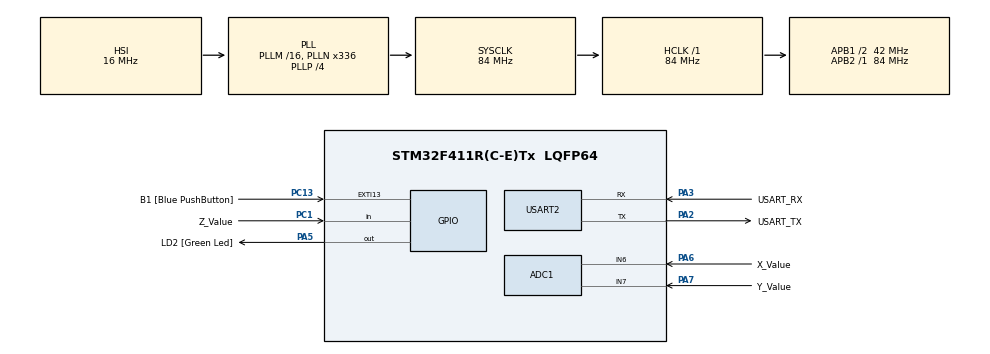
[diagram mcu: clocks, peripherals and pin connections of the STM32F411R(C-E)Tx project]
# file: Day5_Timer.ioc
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ADC1.Channel-0\#ChannelRegularConversion=ADC_CHANNEL_6
ADC1.Channel-1\#ChannelRegularConversion=ADC_CHANNEL_7
ADC1.NbrOfConversion=2
ADC1.NbrOfConversionFlag=1
ADC1.Rank-0\#ChannelRegularConversion=1
ADC1.Rank-1\#ChannelRegularConversion=2
ADC1.SamplingTime-0\#ChannelRegularConversion=ADC_SAMPLETIME_480CYCLES
ADC1.SamplingTime-1\#ChannelRegularConversion=ADC_SAMPLETIME_480CYCLES
ADC1.ScanConvMode=ENABLE
ADC1.master=1
Mcu.Family=STM32F4
Mcu.Name=STM32F411R(C-E)Tx
Mcu.Package=LQFP64
NVIC.PriorityGroup=NVIC_PRIORITYGROUP_0
NVIC.TIM3_IRQn=true\:0\:0\:false\:false\:true\:true\:true\:true
PA13.GPIO_Label=TMS
PA13.Mode=Serial_Wire
PA13.Signal=SYS_JTMS-SWDIO
PA14.GPIO_Label=TCK
PA14.Mode=Serial_Wire
PA14.Signal=SYS_JTCK-SWCLK
PA2.GPIO_Label=USART_TX
PA2.Mode=Asynchronous
PA2.Signal=USART2_TX
PA3.GPIO_Label=USART_RX
PA3.Mode=Asynchronous
PA3.Signal=USART2_RX
PA5.GPIO_Label=LD2 [Green Led]
PA5.Signal=GPIO_Output
PA6.GPIO_Label=X_Value
PA6.Signal=ADCx_IN6
PA7.GPIO_Label=Y_Value
PA7.Signal=ADCx_IN7
PB3.GPIO_Label=SWO
PB3.Signal=SYS_JTDO-SWO
PC1.GPIO_Label=Z_Value
PC1.Signal=GPIO_Input
PC13-ANTI_TAMP.GPIO_Label=B1 [Blue PushButton]
PC13-ANTI_TAMP.GPIO_ModeDefaultEXTI=GPIO_MODE_IT_FALLING
PC13-ANTI_TAMP.Signal=GPXTI13
PC14-OSC32_IN.Mode=LSE-External-Oscillator
PC14-OSC32_IN.Signal=RCC_OSC32_IN
PC15-OSC32_OUT.Mode=LSE-External-Oscillator
PC15-OSC32_OUT.Signal=RCC_OSC32_OUT
PH0\ -\ OSC_IN.Mode=HSE-External-Clock-Source
PH0\ -\ OSC_IN.Signal=RCC_OSC_IN
PH1\ -\ OSC_OUT.Mode=HSE-External-Clock-Source
PH1\ -\ OSC_OUT.Signal=RCC_OSC_OUT
ProjectManager.HeapSize=0x200
ProjectManager.StackSize=0x400
ProjectManager.TargetToolchain=STM32CubeIDE
RCC.48MHZClocksFreq_Value=84000000
RCC.AHBFreq_Value=84000000
RCC.APB1CLKDivider=RCC_HCLK_DIV2
RCC.APB1Freq_Value=42000000
RCC.APB1TimFreq_Value=84000000
RCC.APB2Freq_Value=84000000
RCC.APB2TimFreq_Value=84000000
RCC.CortexFreq_Value=84000000
RCC.FLatency-AdvancedSettings=FLASH_LATENCY_2
RCC.HCLKFreq_Value=84000000
RCC.HSE_VALUE=8000000
RCC.HSI_VALUE=16000000
RCC.PLLN=336
RCC.PLLP=RCC_PLLP_DIV4
RCC.SYSCLKFreq_VALUE=84000000
RCC.SYSCLKSource=RCC_SYSCLKSOURCE_PLLCLK
RCC.VCOOutputFreq_Value=336000000
SH.ADCx_IN6.0=ADC1_IN6,IN6
SH.ADCx_IN7.0=ADC1_IN7,IN7
TIM3.Period=9999
TIM3.Prescaler=8399
USART2.VirtualMode=VM_ASYNC
VP_TIM3_VS_ClockSourceINT.Mode=Internal
board=NUCLEO-F411RE

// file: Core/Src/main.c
/* USER CODE BEGIN Header */
/**
  ******************************************************************************
  * @file           : main.c
  * @brief          : Main program body
  ******************************************************************************
  * @attention
  *
  * Copyright (c) 2023 STMicroelectronics.
  * All rights reserved.
  *
  * This software is licensed under terms that can be found in the LICENSE file
  * in the root directory of this software component.
  * If no LICENSE file comes with this software, it is provided AS-IS.
  *
  ******************************************************************************
  */
/* USER CODE END Header */
#include "main.h"

ADC_HandleTypeDef hadc1;

TIM_HandleTypeDef htim3;

UART_HandleTypeDef huart2;

void SystemClock_Config(void);
static void MX_GPIO_Init(void);
static void MX_USART2_UART_Init(void);
static void MX_TIM3_Init(void);
static void MX_ADC1_Init(void);

/* USER CODE BEGIN 0 */
int __io_putchar(int ch) // 1 byte output function to CONSOLE(monitor)
{
//	char a = ch;
	HAL_UART_Transmit(&huart2, &ch, 1, 100);
}

void Joystick_Test()
{
	int xVal = 0;
	int yVal = 0;
	int zVal = 0;

	HAL_ADC_Start(&hadc1); // Start
	HAL_ADC_PollForConversion(&hadc1, 100);
	xVal = HAL_ADC_GetValue(&hadc1)*90/4095; // xVal Read(Read Rank1)
	HAL_ADC_PollForConversion(&hadc1, 100);
	yVal = HAL_ADC_GetValue(&hadc1)*90/4095; // yVal Read(Read Rank2)
	HAL_ADC_Stop(&hadc1); // Stop
	zVal = !(HAL_GPIO_ReadPin(Z_Value_GPIO_Port, Z_Value_Pin));
	printf("X : %d, Y = %d, Z = %d \r\n", xVal, yVal, zVal);
}

void HAL_TIM_PeriodElapsedCallback(TIM_HandleTypeDef *htim)
{
	if (htim->Instance == TIM3)
		Joystick_Test();
}
/* USER CODE END 0 */

int main(void)
{

  /* MCU Configuration--------------------------------------------------------*/

  /* Reset of all peripherals, Initializes the Flash interface and the Systick. */
  HAL_Init();

  /* Configure the system clock */
  SystemClock_Config();

  /* Initialize all configured peripherals */
  MX_GPIO_Init();
  MX_USART2_UART_Init();
  MX_TIM3_Init();
  MX_ADC1_Init();

  HAL_TIM_Base_Start_IT(&htim3);

  /* Infinite loop */
  while (1)
  {

  }
}

void SystemClock_Config(void)
{
  RCC_OscInitTypeDef RCC_OscInitStruct = {0};
  RCC_ClkInitTypeDef RCC_ClkInitStruct = {0};

  /** Configure the main internal regulator output voltage
  */
  __HAL_RCC_PWR_CLK_ENABLE();
  __HAL_PWR_VOLTAGESCALING_CONFIG(PWR_REGULATOR_VOLTAGE_SCALE1);

  /** Initializes the RCC Oscillators according to the specified parameters
  * in the RCC_OscInitTypeDef structure.
  */
  RCC_OscInitStruct.OscillatorType = RCC_OSCILLATORTYPE_HSI;
  RCC_OscInitStruct.HSIState = RCC_HSI_ON;
  RCC_OscInitStruct.HSICalibrationValue = RCC_HSICALIBRATION_DEFAULT;
  RCC_OscInitStruct.PLL.PLLState = RCC_PLL_ON;
  RCC_OscInitStruct.PLL.PLLSource = RCC_PLLSOURCE_HSI;
  RCC_OscInitStruct.PLL.PLLM = 16;
  RCC_OscInitStruct.PLL.PLLN = 336;
  RCC_OscInitStruct.PLL.PLLP = RCC_PLLP_DIV4;
  RCC_OscInitStruct.PLL.PLLQ = 4;
  if (HAL_RCC_OscConfig(&RCC_OscInitStruct) != HAL_OK)
  {
    Error_Handler();
  }

  /** Initializes the CPU, AHB and APB buses clocks
  */
  RCC_ClkInitStruct.ClockType = RCC_CLOCKTYPE_HCLK|RCC_CLOCKTYPE_SYSCLK
                              |RCC_CLOCKTYPE_PCLK1|RCC_CLOCKTYPE_PCLK2;
  RCC_ClkInitStruct.SYSCLKSource = RCC_SYSCLKSOURCE_PLLCLK;
  RCC_ClkInitStruct.AHBCLKDivider = RCC_SYSCLK_DIV1;
  RCC_ClkInitStruct.APB1CLKDivider = RCC_HCLK_DIV2;
  RCC_ClkInitStruct.APB2CLKDivider = RCC_HCLK_DIV1;

  if (HAL_RCC_ClockConfig(&RCC_ClkInitStruct, FLASH_LATENCY_2) != HAL_OK)
  {
    Error_Handler();
  }
}

static void MX_ADC1_Init(void)
{

  ADC_ChannelConfTypeDef sConfig = {0};

  /** Configure the global features of the ADC (Clock, Resolution, Data Alignment and number of conversion)
  */
  hadc1.Instance = ADC1;
  hadc1.Init.ClockPrescaler = ADC_CLOCK_SYNC_PCLK_DIV4;
  hadc1.Init.Resolution = ADC_RESOLUTION_12B;
  hadc1.Init.ScanConvMode = ENABLE;
  hadc1.Init.ContinuousConvMode = DISABLE;
  hadc1.Init.DiscontinuousConvMode = DISABLE;
  hadc1.Init.ExternalTrigConvEdge = ADC_EXTERNALTRIGCONVEDGE_NONE;
  hadc1.Init.ExternalTrigConv = ADC_SOFTWARE_START;
  hadc1.Init.DataAlign = ADC_DATAALIGN_RIGHT;
  hadc1.Init.NbrOfConversion = 2;
  hadc1.Init.DMAContinuousRequests = DISABLE;
  hadc1.Init.EOCSelection = ADC_EOC_SINGLE_CONV;
  if (HAL_ADC_Init(&hadc1) != HAL_OK)
  {
    Error_Handler();
  }

  /** Configure for the selected ADC regular channel its corresponding rank in the sequencer and its sample time.
  */
  sConfig.Channel = ADC_CHANNEL_6;
  sConfig.Rank = 1;
  sConfig.SamplingTime = ADC_SAMPLETIME_480CYCLES;
  if (HAL_ADC_ConfigChannel(&hadc1, &sConfig) != HAL_OK)
  {
    Error_Handler();
  }

  /** Configure for the selected ADC regular channel its corresponding rank in the sequencer and its sample time.
  */
  sConfig.Channel = ADC_CHANNEL_7;
  sConfig.Rank = 2;
  if (HAL_ADC_ConfigChannel(&hadc1, &sConfig) != HAL_OK)
  {
    Error_Handler();
  }

}

static void MX_TIM3_Init(void)
{

  TIM_ClockConfigTypeDef sClockSourceConfig = {0};
  TIM_MasterConfigTypeDef sMasterConfig = {0};

  htim3.Instance = TIM3;
  htim3.Init.Prescaler = 8399;
  htim3.Init.CounterMode = TIM_COUNTERMODE_UP;
  htim3.Init.Period = 9999;
  htim3.Init.ClockDivision = TIM_CLOCKDIVISION_DIV1;
  htim3.Init.AutoReloadPreload = TIM_AUTORELOAD_PRELOAD_DISABLE;
  if (HAL_TIM_Base_Init(&htim3) != HAL_OK)
  {
    Error_Handler();
  }
  sClockSourceConfig.ClockSource = TIM_CLOCKSOURCE_INTERNAL;
  if (HAL_TIM_ConfigClockSource(&htim3, &sClockSourceConfig) != HAL_OK)
  {
    Error_Handler();
  }
  sMasterConfig.MasterOutputTrigger = TIM_TRGO_RESET;
  sMasterConfig.MasterSlaveMode = TIM_MASTERSLAVEMODE_DISABLE;
  if (HAL_TIMEx_MasterConfigSynchronization(&htim3, &sMasterConfig) != HAL_OK)
  {
    Error_Handler();
  }

}

static void MX_USART2_UART_Init(void)
{

  huart2.Instance = USART2;
  huart2.Init.BaudRate = 115200;
  huart2.Init.WordLength = UART_WORDLENGTH_8B;
  huart2.Init.StopBits = UART_STOPBITS_1;
  huart2.Init.Parity = UART_PARITY_NONE;
  huart2.Init.Mode = UART_MODE_TX_RX;
  huart2.Init.HwFlowCtl = UART_HWCONTROL_NONE;
  huart2.Init.OverSampling = UART_OVERSAMPLING_16;
  if (HAL_UART_Init(&huart2) != HAL_OK)
  {
    Error_Handler();
  }

}

static void MX_GPIO_Init(void)
{
  GPIO_InitTypeDef GPIO_InitStruct = {0};

  /* GPIO Ports Clock Enable */
  __HAL_RCC_GPIOC_CLK_ENABLE();
  __HAL_RCC_GPIOH_CLK_ENABLE();
  __HAL_RCC_GPIOA_CLK_ENABLE();
  __HAL_RCC_GPIOB_CLK_ENABLE();

  /*Configure GPIO pin Output Level */
  HAL_GPIO_WritePin(LD2_GPIO_Port, LD2_Pin, GPIO_PIN_RESET);

  /*Configure GPIO pin : B1_Pin */
  GPIO_InitStruct.Pin = B1_Pin;
  GPIO_InitStruct.Mode = GPIO_MODE_IT_FALLING;
  GPIO_InitStruct.Pull = GPIO_NOPULL;
  HAL_GPIO_Init(B1_GPIO_Port, &GPIO_InitStruct);

  /*Configure GPIO pin : Z_Value_Pin */
  GPIO_InitStruct.Pin = Z_Value_Pin;
  GPIO_InitStruct.Mode = GPIO_MODE_INPUT;
  GPIO_InitStruct.Pull = GPIO_PULLUP;
  HAL_GPIO_Init(Z_Value_GPIO_Port, &GPIO_InitStruct);

  /*Configure GPIO pin : LD2_Pin */
  GPIO_InitStruct.Pin = LD2_Pin;
  GPIO_InitStruct.Mode = GPIO_MODE_OUTPUT_PP;
  GPIO_InitStruct.Pull = GPIO_NOPULL;
  GPIO_InitStruct.Speed = GPIO_SPEED_FREQ_LOW;
  HAL_GPIO_Init(LD2_GPIO_Port, &GPIO_InitStruct);

}

void Error_Handler(void)
{
  __disable_irq();
  while (1)
  {
  }
}
